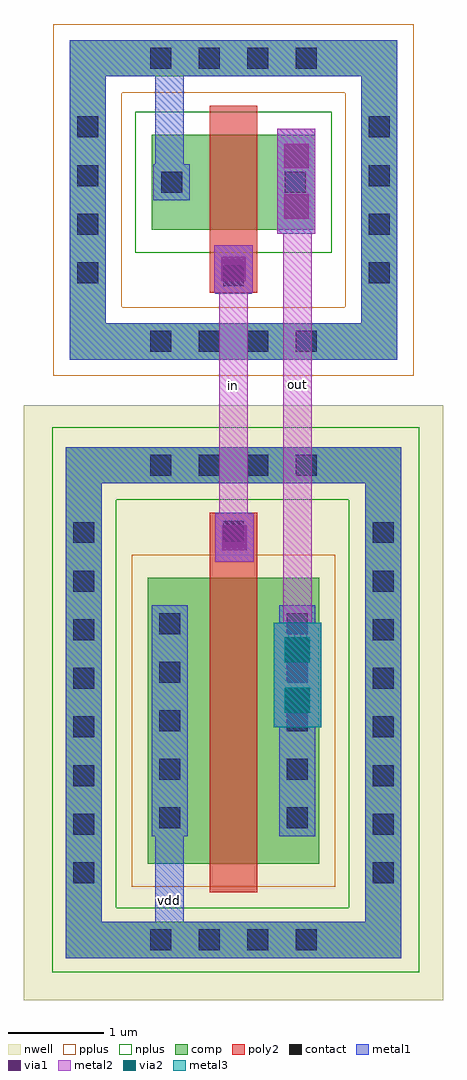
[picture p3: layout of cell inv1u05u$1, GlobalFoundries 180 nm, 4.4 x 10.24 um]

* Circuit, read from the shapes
.subckt inv1u05u$1 in out vdd
XM1 out in VSUBS VSUBS nfet_03v3 w=1u l=0.5u
XM2 out in vdd vdd pfet_03v3 w=3u l=0.5u
.ends

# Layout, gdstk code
import gdstk
lib = gdstk.Library(unit=1e-6, precision=5e-09)
def R(c, l, rs):  # rectangles x0, y0, x1, y1
    for r in rs: c.add(gdstk.rectangle(r[:2], r[2:], *l))
def A(c, l, x, y, w, h, nx, ny, dx, dy):  # array of equal rectangles
    R(c, l, [(x+i*dx, y+j*dy, x+i*dx+w, y+j*dy+h) for i in range(nx) for j in range(ny)])
def P(c, l, *ps):  # polygons
    for p in ps: c.add(gdstk.Polygon(p, *l))
nwell = (21, 0)
comp = (22, 0)
poly2 = (30, 0)
pplus = (31, 0)
nplus = (32, 0)
contact = (33, 0)
metal1 = (34, 0)
via1 = (35, 0)
metal2 = (36, 0)
via2 = (38, 0)
metal3 = (42, 0)

pfet_4 = lib.new_cell('pfet$4')
R(pfet_4, nwell, [(-1.76,-1.81,2.64,4.43)])
R(pfet_4, comp, [(-0.46,0,0,3), (0,0,0.88,3), (0.88,0,1.34,3)])
P(pfet_4, comp, [(-1.32,-1.37),(-1.32,3.61),(-0.94,3.61),(-0.94,-0.99),(1.82,-0.99),(1.82,3.61),(-1.32,3.61),(-1.32,3.99),(2.2,3.99),(2.2,-1.37)])
R(pfet_4, poly2, [(0.19,-0.68,0.69,-0.3), (0.19,-0.3,0.69,3.3)])
R(pfet_4, pplus, [(-0.63,-0.24,1.51,3.24)])
A(pfet_4, contact, -0.435, -1.29, 0.22, 0.22, 4, 2, 0.51, 4.98)
A(pfet_4, contact, -1.24, -0.585, 0.22, 0.22, 1, 8, 0, 0.51)
A(pfet_4, contact, 1.9, -0.585, 0.22, 0.22, 1, 8, 0, 0.51)
A(pfet_4, contact, -0.34, 0.37, 0.22, 0.22, 1, 5, 0, 0.51)
A(pfet_4, contact, 1, 0.37, 0.22, 0.22, 1, 5, 0, 0.51)
R(pfet_4, contact, [(0.33,-0.6,0.55,-0.38)])
R(pfet_4, metal1, [(0.25,-0.68,0.63,-0.3), (-0.42,0.29,-0.04,2.71), (0.92,0.29,1.3,2.71)])

via_dev_12 = lib.new_cell('via_dev$12')
R(via_dev_12, metal1, [(0,0,0.4,0.5)])
R(via_dev_12, via1, [(0.07,0.12,0.33,0.38)])
R(via_dev_12, metal2, [(0,0,0.4,0.5)])

via_dev_15 = lib.new_cell('via_dev$15')
R(via_dev_15, metal1, [(0,0,0.5,1.1)])
R(via_dev_15, via1, [(0.12,0.155,0.38,0.415), (0.12,0.685,0.38,0.945)])
R(via_dev_15, metal2, [(0,0,0.5,1.1)])
R(via_dev_15, via2, [(0.12,0.155,0.38,0.415), (0.12,0.685,0.38,0.945)])
R(via_dev_15, metal3, [(0,0,0.5,1.1)])

via_dev_14 = lib.new_cell('via_dev$14')
R(via_dev_14, metal1, [(0,0,0.4,1.1)])
R(via_dev_14, via1, [(0.07,0.155,0.33,0.415), (0.07,0.685,0.33,0.945)])
R(via_dev_14, metal2, [(0,0,0.4,1.1)])

nfet_4 = lib.new_cell('nfet$4')
R(nfet_4, comp, [(-0.42,0,0,1), (0,0,0.88,1), (0.88,0,1.3,1)])
P(nfet_4, comp, [(-1.28,-0.99),(-1.28,1.98),(-0.9,1.98),(-0.9,-0.61),(1.78,-0.61),(1.78,1.98),(-1.28,1.98),(-1.28,2.36),(2.16,2.36),(2.16,-0.99)])
R(nfet_4, poly2, [(0.19,-0.3,0.69,1.3), (0.19,1.3,0.69,1.66)])
P(nfet_4, pplus, [(-1.45,-1.16),(-1.45,1.81),(-0.73,1.81),(-0.73,-0.44),(1.61,-0.44),(1.61,1.81),(-1.45,1.81),(-1.45,2.53),(2.33,2.53),(2.33,-1.16)])
R(nfet_4, nplus, [(-0.59,-0.24,1.47,1.24)])
A(nfet_4, contact, -0.435, -0.91, 0.22, 0.22, 4, 2, 0.51, 2.97)
A(nfet_4, contact, -1.2, -0.19, 0.22, 0.22, 1, 4, 0, 0.51)
A(nfet_4, contact, 1.86, -0.19, 0.22, 0.22, 1, 4, 0, 0.51)
R(nfet_4, contact, [(-0.32,0.39,-0.1,0.61), (0.98,0.39,1.2,0.61), (0.33,1.37,0.55,1.59)])
R(nfet_4, metal1, [(-0.4,0.31,-0.02,0.69), (0.9,0.31,1.28,0.69), (0.25,1.29,0.63,1.67)])

inv1u05u_1 = lib.new_cell('inv1u05u$1')
R(inv1u05u_1, nplus, [(-2.775,-1.105,-2.105,4.615), (-2.775,-1.105,1.075,-0.425), (0.335,-1.105,1.075,4.615), (-2.775,3.855,1.075,4.615)])
R(inv1u05u_1, metal1, [(-2.635,-0.955,-2.205,-0.575), (-2.205,-0.955,0.505,-0.575), (0.505,-0.955,0.885,-0.575), (0.505,-0.955,0.885,4.405), (-2.635,-0.575,-2.255,4.025), (-2.635,4.025,0.885,4.405), (-2.595,5.325,0.845,5.705), (-2.595,5.705,-2.215,8.675), (0.465,5.705,0.845,8.675), (-2.215,8.295,0.465,8.675)])
inv1u05u_1.add(gdstk.FlexPath([(-1.545,7.295),(-1.545,8.595)], 0.3, ends="flush", simple_path=True, layer=34, datatype=0))  # metal1
inv1u05u_1.add(gdstk.FlexPath([(-1.545,1.135),(-1.545,-0.875)], 0.3, ends="flush", simple_path=True, layer=34, datatype=0))  # metal1
inv1u05u_1.add(gdstk.FlexPath([(-0.875,3.635),(-0.875,6.525)], 0.3, ends="flush", simple_path=True, layer=36, datatype=0))  # metal2
inv1u05u_1.add(gdstk.FlexPath([(-0.205,2.155),(-0.205,7.185)], 0.3, ends="flush", simple_path=True, layer=36, datatype=0))  # metal2
inv1u05u_1.add(gdstk.Reference(pfet_4, (-1.315,3.035), x_reflection=True))
inv1u05u_1.add(gdstk.Reference(via_dev_12, (-1.065,3.705), x_reflection=True))
inv1u05u_1.add(gdstk.Reference(via_dev_15, (-0.455,2.565), x_reflection=True))
inv1u05u_1.add(gdstk.Reference(via_dev_14, (-0.415,7.745), x_reflection=True))
inv1u05u_1.add(gdstk.Reference(via_dev_12, (-1.075,6.525), x_reflection=True))
inv1u05u_1.add(gdstk.Reference(nfet_4, (-1.315,7.685), x_reflection=True))
inv1u05u_1.add(gdstk.Label('vdd', (-1.545,-0.355), layer=34, texttype=10))
inv1u05u_1.add(gdstk.Label('out', (-0.205,5.065), layer=36, texttype=10))
inv1u05u_1.add(gdstk.Label('in', (-0.875,5.055), layer=36, texttype=10))

lib.write_gds('inv1u05u_1.gds')
